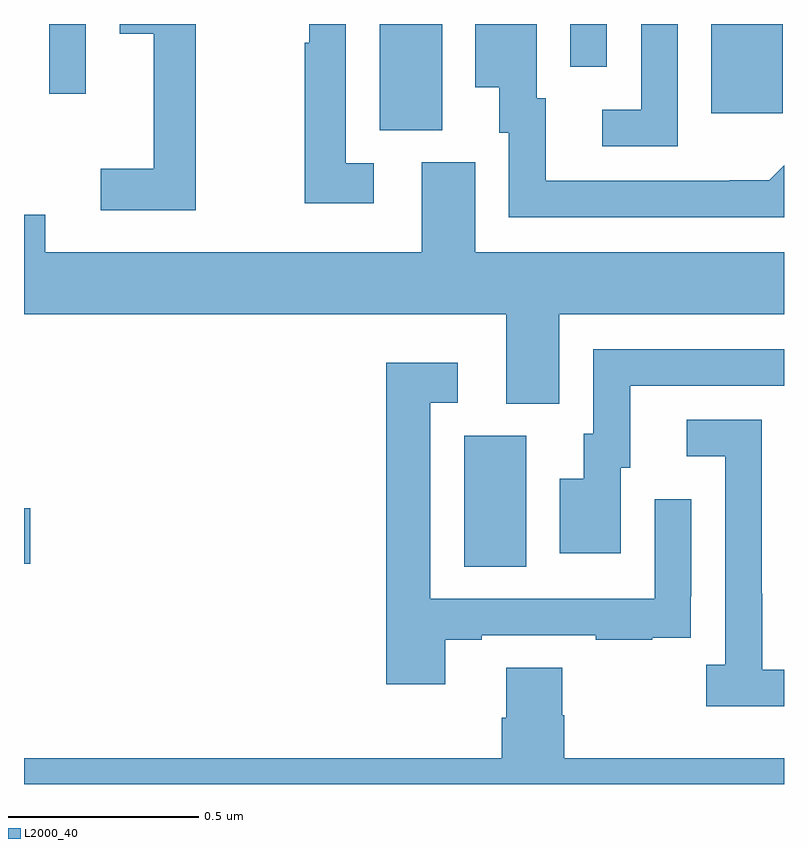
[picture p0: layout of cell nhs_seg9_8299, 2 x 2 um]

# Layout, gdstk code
import gdstk
lib = gdstk.Library(unit=1e-6, precision=1e-09)
def R(c, l, rs):  # rectangles x0, y0, x1, y1
    for r in rs: c.add(gdstk.rectangle(r[:2], r[2:], *l))
def P(c, l, *ps):  # polygons
    for p in ps: c.add(gdstk.Polygon(p, *l))
L2000_40 = (2000, 40)

nhs_seg9_8299 = lib.new_cell('nhs_seg9_8299')
R(nhs_seg9_8299, L2000_40, [(216.158,1213.072,216.322,1213.416), (215,1213.079,215.017,1213.226), (215.936,1214.221,216.1,1214.5), (216.809,1214.265,216.997,1214.5), (215.067,1214.316,215.163,1214.5), (216.438,1214.388,216.534,1214.5)])
P(nhs_seg9_8299, L2000_40, [(215.92,1214.133),(215.847,1214.133),(215.847,1214.5),(215.751,1214.5),(215.751,1214.451),(215.739,1214.451),(215.739,1214.028),(215.92,1214.028)],
  [(215.452,1214.5),(215.252,1214.5),(215.252,1214.474),(215.342,1214.474),(215.342,1214.119),(215.202,1214.119),(215.202,1214.01),(215.452,1214.01)],
  [(217,1214.128),(216.961,1214.089),(216.857,1214.089),(216.857,1214.088),(216.373,1214.088),(216.373,1214.304),(216.349,1214.304),(216.349,1214.5),(216.188,1214.5),(216.188,1214.333),(216.251,1214.333),(216.251,1214.214),(216.276,1214.214),(216.276,1213.992),(217,1213.992)],
  [(216.72,1214.5),(216.624,1214.5),(216.624,1214.274),(216.522,1214.274),(216.522,1214.178),(216.72,1214.178)],
  [(216.409,1213.736),(217,1213.736),(217,1213.9),(216.187,1213.9),(216.187,1214.136),(216.047,1214.136),(216.047,1213.9),(215.056,1213.9),(215.056,1213.998),(215,1213.998),(215,1213.736),(216.269,1213.736),(216.269,1213.501),(216.409,1213.501)],
  [(216.571,1213.332),(216.595,1213.332),(216.595,1213.548),(217,1213.548),(217,1213.644),(216.498,1213.644),(216.498,1213.422),(216.473,1213.422),(216.473,1213.303),(216.41,1213.303),(216.41,1213.107),(216.571,1213.107)],
  [(216.109,1212.879),(216.205,1212.879),(216.205,1212.891),(216.505,1212.891),(216.505,1212.879),(216.653,1212.879),(216.653,1212.885),(216.755,1212.885),(216.755,1212.994),(216.756,1212.994),(216.756,1213.249),(216.66,1213.249),(216.66,1212.987),(216.069,1212.987),(216.069,1213.503),(216.142,1213.503),(216.142,1213.609),(215.953,1213.609),(215.953,1212.762),(216.109,1212.762)],
  [(217,1212.801),(216.943,1212.801),(216.943,1213.001),(216.942,1213.001),(216.942,1213.458),(216.744,1213.458),(216.744,1213.362),(216.846,1213.362),(216.846,1212.814),(216.795,1212.814),(216.795,1212.704),(217,1212.704)],
  [(217,1212.568),(216.422,1212.568),(216.422,1212.681),(216.417,1212.681),(216.417,1212.806),(216.269,1212.806),(216.269,1212.674),(216.257,1212.674),(216.257,1212.568),(215,1212.568),(215,1212.5),(217,1212.5)])

lib.write_gds('nhs_seg9_8299.gds')
